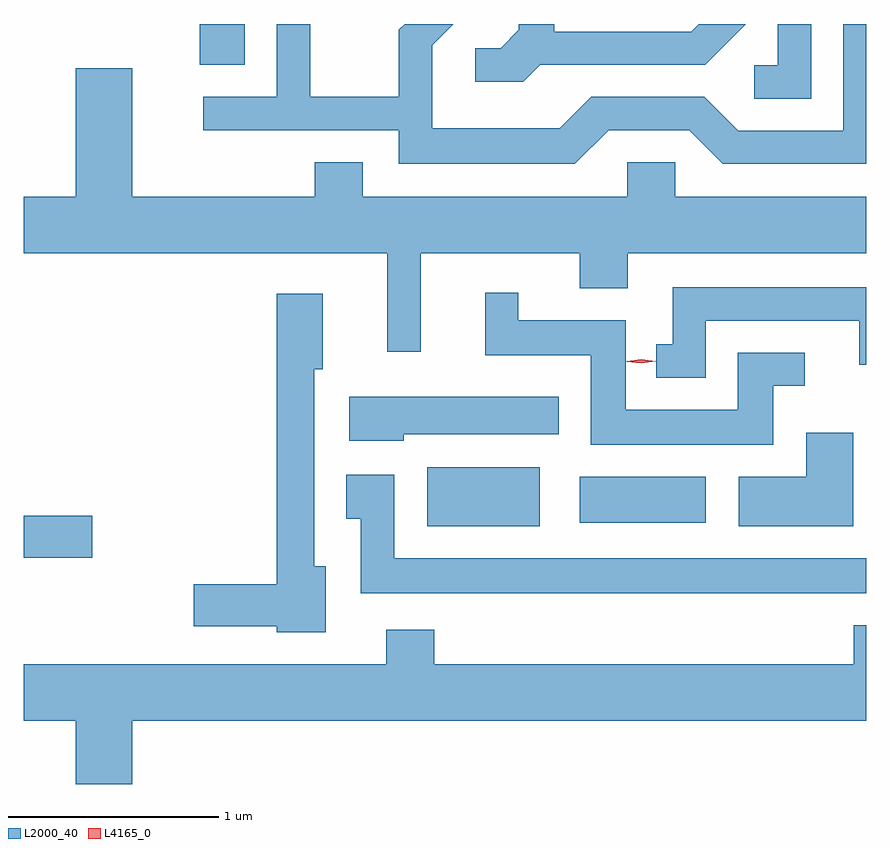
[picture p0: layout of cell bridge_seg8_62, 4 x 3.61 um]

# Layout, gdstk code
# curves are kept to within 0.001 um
import gdstk
lib = gdstk.Library(unit=1e-6, precision=1e-09)
def R(c, l, rs):  # rectangles x0, y0, x1, y1
    for r in rs: c.add(gdstk.rectangle(r[:2], r[2:], *l))
def P(c, l, *ps):  # polygons
    for p in ps: c.add(gdstk.Polygon(p, *l))
L2000_40 = (2000, 40)
L4165_0 = (4165, 0)

bridge_seg8_62 = lib.new_cell('bridge_seg8_62')
R(bridge_seg8_62, L2000_40, [(1473.57,1917.111,1473.894,1917.309), (1475.486,1917.261,1476.019,1917.539), (1476.211,1917.276,1476.809,1917.494), (1474.406,1919.451,1474.619,1919.645)])
P(bridge_seg8_62, L2000_40, [(1476.347,1919.141),(1476.729,1919.141),(1476.889,1918.981),(1477.57,1918.981),(1477.57,1919.645),(1477.461,1919.645),(1477.461,1919.139),(1476.962,1919.139),(1476.802,1919.299),(1476.264,1919.299),(1476.114,1919.149),(1475.509,1919.149),(1475.509,1919.544),(1475.61,1919.645),(1475.379,1919.645),(1475.351,1919.617),(1475.351,1919.299),(1474.929,1919.299),(1474.929,1919.645),(1474.771,1919.645),(1474.771,1919.299),(1474.423,1919.299),(1474.423,1919.141),(1475.351,1919.141),(1475.351,1918.981),(1476.187,1918.981)],
  [(1476.022,1919.451),(1476.807,1919.451),(1476.999,1919.645),(1476.775,1919.645),(1476.739,1919.609),(1476.089,1919.609),(1476.089,1919.645),(1475.921,1919.645),(1475.921,1919.617),(1475.834,1919.529),(1475.713,1919.529),(1475.713,1919.371),(1475.942,1919.371)],
  [(1477.309,1919.645),(1477.151,1919.645),(1477.151,1919.449),(1477.038,1919.449),(1477.038,1919.291),(1477.309,1919.291)],
  [(1475.454,1918.556),(1476.211,1918.556),(1476.211,1918.391),(1476.439,1918.391),(1476.439,1918.556),(1477.57,1918.556),(1477.57,1918.824),(1476.664,1918.824),(1476.664,1918.989),(1476.436,1918.989),(1476.436,1918.824),(1475.179,1918.824),(1475.179,1918.989),(1474.951,1918.989),(1474.951,1918.824),(1474.084,1918.824),(1474.084,1919.434),(1473.816,1919.434),(1473.816,1918.824),(1473.57,1918.824),(1473.57,1918.556),(1475.296,1918.556),(1475.296,1918.088),(1475.454,1918.088)],
  [(1476.809,1918.236),(1477.536,1918.236),(1477.536,1918.028),(1477.57,1918.028),(1477.57,1918.394),(1476.651,1918.394),(1476.651,1918.124),(1476.573,1918.124),(1476.573,1917.966),(1476.809,1917.966)],
  [(1477.129,1917.926),(1477.278,1917.926),(1477.278,1918.084),(1476.961,1918.084),(1476.961,1917.814),(1476.429,1917.814),(1476.429,1918.239),(1475.919,1918.239),(1475.919,1918.368),(1475.761,1918.368),(1475.761,1918.071),(1476.261,1918.071),(1476.261,1917.646),(1477.129,1917.646)],
  [(1475.004,1917.069),(1474.949,1917.069),(1474.949,1918.006),(1474.989,1918.006),(1474.989,1918.364),(1474.771,1918.364),(1474.771,1916.984),(1474.376,1916.984),(1474.376,1916.786),(1474.771,1916.786),(1474.771,1916.756),(1475.004,1916.756)],
  [(1475.374,1917.696),(1476.109,1917.696),(1476.109,1917.874),(1475.116,1917.874),(1475.116,1917.666),(1475.374,1917.666)],
  [(1477.509,1917.704),(1477.286,1917.704),(1477.286,1917.494),(1476.966,1917.494),(1476.966,1917.261),(1477.509,1917.261)],
  [(1477.57,1917.109),(1475.329,1917.109),(1475.329,1917.504),(1475.101,1917.504),(1475.101,1917.296),(1475.171,1917.296),(1475.171,1916.941),(1477.57,1916.941)],
  [(1474.084,1916.336),(1477.57,1916.336),(1477.57,1916.789),(1477.511,1916.789),(1477.511,1916.604),(1475.519,1916.604),(1475.519,1916.769),(1475.291,1916.769),(1475.291,1916.604),(1473.57,1916.604),(1473.57,1916.336),(1473.816,1916.336),(1473.816,1916.036),(1474.084,1916.036)])
P(bridge_seg8_62, L4165_0, [(1476.502,1918.033),(1476.432,1918.042),(1476.432,1918.042),(1476.432,1918.043),(1476.502,1918.053),(1476.571,1918.044),(1476.571,1918.043),(1476.571,1918.043)])

lib.write_gds('bridge_seg8_62.gds')
